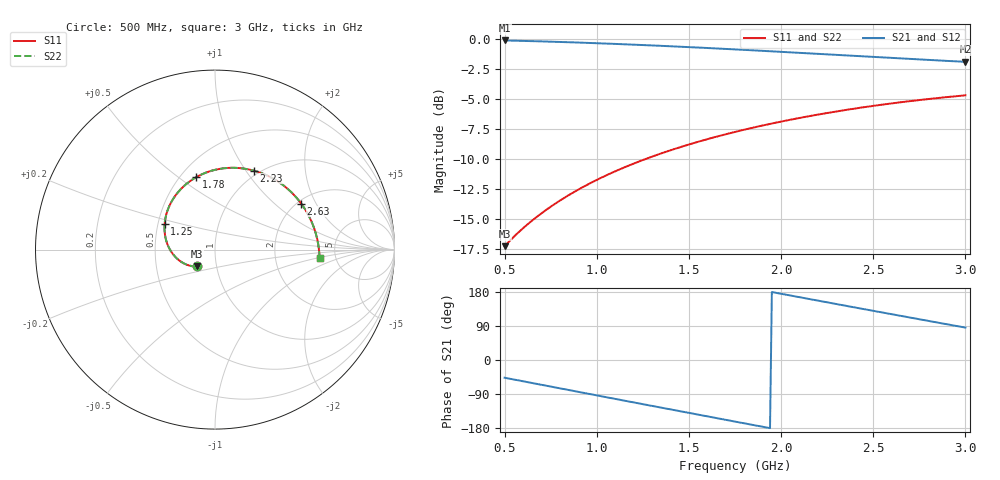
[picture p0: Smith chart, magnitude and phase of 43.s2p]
!freq-unit  param-type  data-format  keyword  impedance-ohms
# GHZ  S  RI  R  50
!Freq  ReS11  ImS11  ReS21  ImS21  ReS12  ImS12  ReS22  ImS22
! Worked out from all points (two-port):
!   251 points, 500 MHz to 3 GHz, reference 50 ohm
!   highest |S21| = -0.10 dB at 500 MHz (marker M1); lowest = -1.9 dB at 3 GHz (marker M2)
!   |S21| within 3 dB of the highest: start of sweep to end of sweep
!   lowest |S11| = -17.2 dB at 500 MHz (marker M3), VSWR 1.32, Z = 40.2 - j7.7 ohm
!   |S11| at or under -10 dB: start of sweep to 1.26 GHz
!   |S22| runs from -17.2 to -4.7 dB; largest |S21 - S12| = 0
!   S11 on the Smith chart (normalised r, x): 500 MHz: 0.80, -0.15; 1.25 GHz: 0.54, +0.17; 1.78 GHz: 0.60, +0.58; 2.23 GHz: 0.94, +1.09; 2.63 GHz: 2.09, +1.53; 3 GHz: 3.73, -0.53
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0.5  -0.1004 -0.0939  0.6768 -0.7209  0.6768 -0.7209  -0.1004 -0.0939
0.61  -0.1393 -0.0899  0.5349 -0.8263  0.5349 -0.8263  -0.1393 -0.0899
0.71  -0.175 -0.0761  0.3919 -0.8978  0.3919 -0.8978  -0.175 -0.0761
0.82  -0.2118 -0.0499  0.2246 -0.9475  0.2246 -0.9475  -0.2118 -0.0499
0.92  -0.2406 -0.0166  0.068 -0.9657  0.068 -0.9657  -0.2406 -0.0166
1.08  -0.2724 0.0525  -0.1799 -0.941  -0.1799 -0.941  -0.2724 0.0525
1.25  -0.2808 0.1408  -0.4231 -0.8466  -0.4231 -0.8466  -0.2808 0.1408
1.34  -0.2727 0.1905  -0.5372 -0.7712  -0.5372 -0.7712  -0.2727 0.1905
1.45  -0.2506 0.2511  -0.6587 -0.6588  -0.6587 -0.6588  -0.2506 0.2511
1.55  -0.2186 0.3037  -0.7492 -0.5406  -0.7492 -0.5406  -0.2186 0.3037
1.65  -0.1758 0.3515  -0.8186 -0.4107  -0.8186 -0.4107  -0.1758 0.3515
1.75  -0.1232 0.3923  -0.8657 -0.2729  -0.8657 -0.2729  -0.1232 0.3923
1.78  -0.1056 0.4029  -0.8754 -0.2305  -0.8754 -0.2305  -0.1056 0.4029
1.97  0.0204 0.4487  -0.8884 0.0395  -0.8884 0.0395  0.0204 0.4487
2.07  0.0942 0.4558  -0.8627 0.1773  -0.8627 0.1773  0.0942 0.4558
2.17  0.1701 0.45  -0.8161 0.3076  -0.8161 0.3076  0.1701 0.45
2.23  0.2158 0.4401  -0.7788 0.3809  -0.7788 0.3809  0.2158 0.4401
2.42  0.3539 0.3772  -0.621 0.5816  -0.621 0.5816  0.3539 0.3772
2.59  0.4592 0.2832  -0.4398 0.7118  -0.4398 0.7118  0.4592 0.2832
2.63  0.4802 0.2564  -0.3933 0.7349  -0.3933 0.7349  0.4802 0.2564
2.81  0.5523 0.1191  -0.1733 0.8009  -0.1733 0.8009  0.5523 0.1191
3  0.5823 -0.0464  0.0635 0.8032  0.0635 0.8032  0.5823 -0.0464
